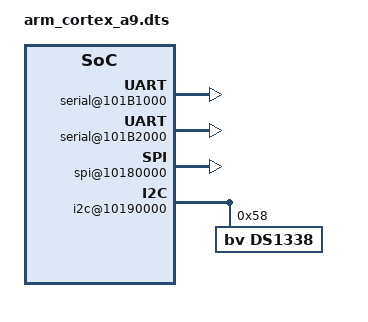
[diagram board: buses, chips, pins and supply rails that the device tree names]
/dts-v1/;

/ {
    compatible = "BV, Yellow's BV";

    cpus {
        cpu@0 {
            compatible = "arm,cortex-a9";
        };
        cpu@1 {
            compatible = "arm,cortex-a9";
        };        
    };

    serial@101B1000 {
        compatible = "arm,bv011";
    };
    
    serial@101B2000 {
        compatible = "arm,bv011";
    };

    gpio@101B3000 {
        compatible = "arm,bv061";
    };

    spi@10180000 {
        compatible = "arm,bv022";
    };

    i2c@10190000 {
        compatible = "bv,bv-i2c-bus";

        ds1338@58 {
            compatible = "bv,ds1338";
            reg = <0x58>;
        };
    };
};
